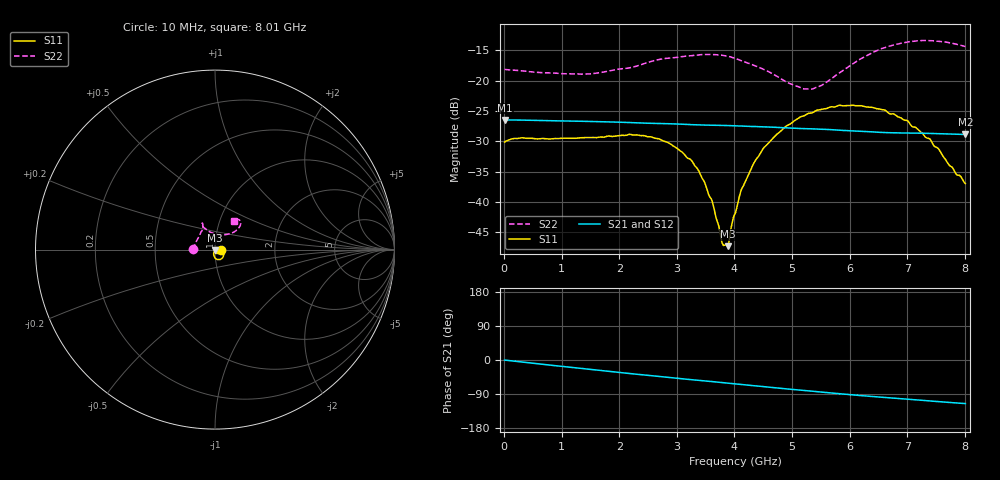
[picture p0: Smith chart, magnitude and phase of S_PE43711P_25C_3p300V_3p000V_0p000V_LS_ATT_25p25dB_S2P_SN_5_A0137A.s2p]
! Device ID: PE43711P
! File Path: z:\PE43711P\CHAR_NOM_04282014\AMB\3p300\LS_ATT_25p25dB\PE43711P_AMB_3p300V_3p000V_0p000V_LS_ATT_25p25dB_S2P_SN_5_A0137A.s2p
! Serial: 5
! Lot: A0137A
! Temp: 25C
! VDD: 3.300
! VSS: 0.000
! Control_Hi: 3.000
! Control_Lo: 0.000
! Attenuation Step: 25.25dB
! Port 1: RF1
! Port 2: RF2
! ThroughPath:1-2
! IDD: 0.000127423
! ISS: -7.97e-008
#  Hz  S  RI  R  50
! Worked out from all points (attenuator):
!   801 points, 10 MHz to 8.01 GHz, reference 50 ohm
!   highest |S21| = -26.49 dB at 20 MHz (marker M1); lowest = -28.9 dB at 8.01 GHz (marker M2)
!   lowest |S11| = -47.3 dB at 3.88 GHz (marker M3), VSWR 1.01, Z = 50.2 - j0.4 ohm
!   |S11| at or under -10 dB: start of sweep to end of sweep
!   |S22| runs from -21.4 to -13.4 dB; largest |S21 - S12| = 0.00014
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1e7  0.0311 0.000417  0.0474 -0.000196  0.0474 -0.00019  -0.1235 0.000943
2e7  0.0314 0.000565  0.0474 -0.000289  0.0474 -0.000305  -0.1233 0.00153
3.1e8  0.0338 0.000441  0.047 -0.00447  0.047 -0.00446  -0.1195 0.012
1.35e9  0.0338 -0.00121  0.0427 -0.0176  0.0427 -0.0176  -0.0967 0.058
2.19e9  0.036 0.00114  0.0365 -0.0264  0.0366 -0.0264  -0.0732 0.1044
2.68e9  0.0329 0.00442  0.0323 -0.0303  0.0323 -0.0303  -0.0683 0.1323
3.06e9  0.0257 0.00569  0.0287 -0.0331  0.0287 -0.0331  -0.0677 0.1413
3.35e9  0.0185 0.00469  0.0258 -0.0346  0.0258 -0.0346  -0.0689 0.1463
3.61e9  0.0102 0.0012  0.0233 -0.0359  0.0234 -0.0359  -0.072 0.1466
3.79e9  0.00404 -0.00212  0.0216 -0.0368  0.0216 -0.0369  -0.0738 0.1435
3.88e9  0.00169 -0.00399  0.0206 -0.0372  0.0206 -0.0373  -0.0735 0.1403
4.01e9  -0.00144 -0.00784  0.0192 -0.0377  0.0192 -0.0378  -0.072 0.1343
4.15e9  -0.00406 -0.0128  0.0177 -0.0382  0.0177 -0.0382  -0.0668 0.1274
4.34e9  -0.0071 -0.0198  0.0158 -0.0387  0.0157 -0.0388  -0.0583 0.1197
4.51e9  -0.0075 -0.0269  0.0139 -0.0391  0.0139 -0.0392  -0.0493 0.1132
4.89e9  -0.00327 -0.0417  0.0099 -0.0396  0.00988 -0.0396  -0.0226 0.0953
5.35e9  0.0102 -0.0532  0.00531 -0.0396  0.00536 -0.0397  0.0226 0.082
6.05e9  0.0378 -0.0499  -0.00137 -0.0385  -0.00142 -0.0385  0.0989 0.0943
6.68e9  0.0473 -0.0256  -0.00616 -0.0367  -0.00611 -0.0367  0.1388 0.1318
7e9  0.0446 -0.0141  -0.00839 -0.036  -0.00836 -0.036  0.1434 0.1494
7.39e9  0.0329 -0.00279  -0.0113 -0.0349  -0.0113 -0.0349  0.1339 0.1663
8.01e9  0.0141 -0.00143  -0.0152 -0.0326  -0.0154 -0.0326  0.1043 0.1588
